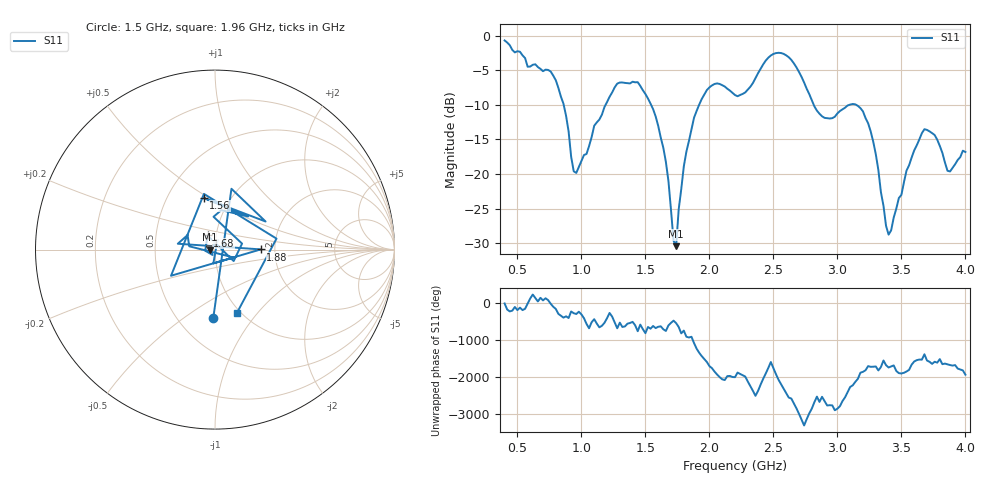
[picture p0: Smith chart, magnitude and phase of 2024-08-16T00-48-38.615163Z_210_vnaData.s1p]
!Created with skrf (http://scikit-rf.org).
# Hz S RI R 50.0
!freq ReS11 ImS11
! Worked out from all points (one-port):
!   181 points, 400 MHz to 4 GHz, reference 50 ohm
!   lowest |S11| = -30.4 dB at 1.74 GHz (marker M1), VSWR 1.06, Z = 47.1 + j0.0442 ohm
!   |S11| at or under -10 dB: 861.6 MHz to 1.189 GHz (327.6 MHz wide, 31.9 % of centre); 1.544 GHz to 1.92 GHz (375.5 MHz wide, 21.7 % of centre); 3.146 GHz to end of sweep (the widest 3 of 4)
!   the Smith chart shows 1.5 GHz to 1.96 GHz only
!   S11 on the Smith chart (normalised r, x): 1.5 GHz: 0.74, -0.65; 1.56 GHz: 0.75, +0.47; 1.68 GHz: 0.91, +0.14; 1.88 GHz: 1.69, +0.00; 1.96 GHz: 0.96, -0.79
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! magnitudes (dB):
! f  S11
! 400 MHz  -0.7
! 760 MHz  -5.2
! 860 MHz  -9.9
! 940 MHz  -19.6
! 960 MHz  -19.8
! 1.3 GHz  -6.8
! 1.5 GHz  -8.4
! 1.56 GHz  -10.6
! 1.68 GHz  -21.0
! 1.72 GHz  -29.7
! 1.74 GHz  -30.4
! 1.76 GHz  -25.1
! 1.8 GHz  -18.9
! 1.88 GHz  -11.9
! 1.96 GHz  -8.5
! 2.06 GHz  -6.9
! 2.2 GHz  -8.6
! 2.5 GHz  -2.6
! 2.66 GHz  -4.0
! 2.88 GHz  -11.7
! 3.1 GHz  -10.0
! 3.26 GHz  -13.8
! 3.4 GHz  -28.8
! 3.56 GHz  -18.7
! 3.68 GHz  -13.5
! 3.76 GHz  -14.4
! 3.86 GHz  -19.5
! 4 GHz  -16.8
